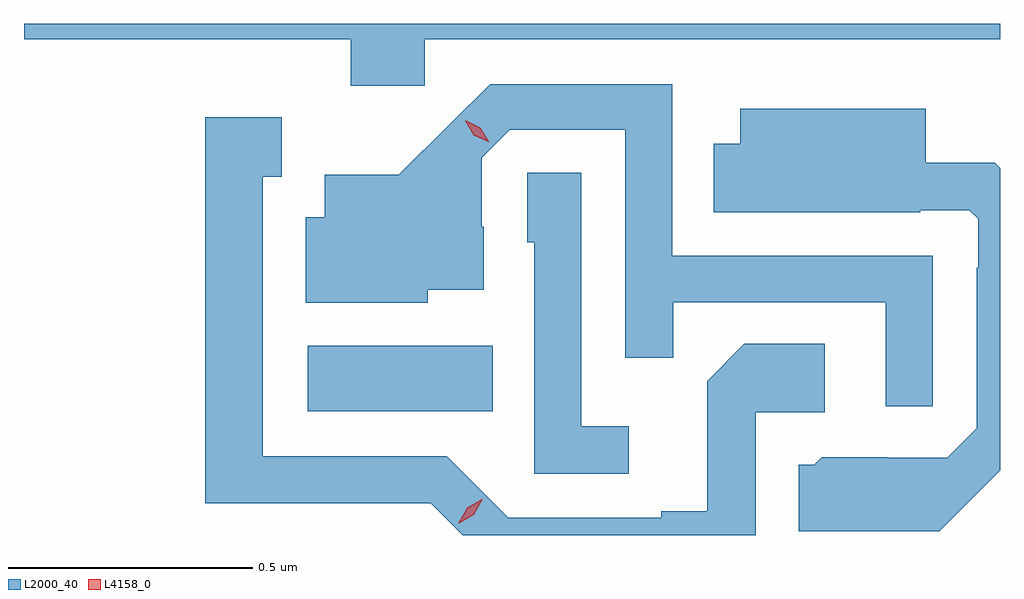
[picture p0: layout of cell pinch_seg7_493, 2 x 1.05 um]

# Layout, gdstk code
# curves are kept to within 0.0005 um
import gdstk
lib = gdstk.Library(unit=1e-6, precision=1e-09)
def R(c, l, rs):  # rectangles x0, y0, x1, y1
    for r in rs: c.add(gdstk.rectangle(r[:2], r[2:], *l))
def P(c, l, *ps):  # polygons
    for p in ps: c.add(gdstk.Polygon(p, *l))
L2000_40 = (2000, 40)
L4158_0 = (4158, 0)

pinch_seg7_493 = lib.new_cell('pinch_seg7_493')
R(pinch_seg7_493, L2000_40, [(180.444,1081.106,180.824,1081.24)])
P(pinch_seg7_493, L2000_40, [(180.684,1081.868),(181.863,1081.868),(181.863,1081.9),(179.863,1081.9),(179.863,1081.868),(180.533,1081.868),(180.533,1081.773),(180.684,1081.773)],
  [(181.725,1081.425),(181.191,1081.425),(181.191,1081.776),(180.818,1081.776),(180.631,1081.591),(180.479,1081.591),(180.479,1081.504),(180.44,1081.504),(180.44,1081.328),(180.69,1081.328),(180.69,1081.355),(180.805,1081.355),(180.805,1081.484),(180.801,1081.484),(180.801,1081.626),(180.858,1081.683),(181.095,1081.683),(181.095,1081.216),(181.193,1081.216),(181.193,1081.329),(181.629,1081.329),(181.629,1081.116),(181.725,1081.116)],
  [(181.819,1080.941),(181.863,1080.985),(181.863,1081.604),(181.852,1081.615),(181.711,1081.615),(181.711,1081.726),(181.331,1081.726),(181.331,1081.654),(181.276,1081.654),(181.276,1081.514),(181.7,1081.514),(181.7,1081.518),(181.8,1081.518),(181.818,1081.5),(181.818,1081.4),(181.815,1081.4),(181.815,1081.071),(181.755,1081.011),(181.632,1081.011),(181.632,1081.012),(181.498,1081.012),(181.482,1080.996),(181.451,1080.996),(181.451,1080.86),(181.739,1080.86)],
  [(181.362,1081.104),(181.504,1081.104),(181.504,1081.244),(181.339,1081.244),(181.263,1081.168),(181.263,1080.901),(181.169,1080.901),(181.169,1080.888),(180.855,1080.888),(180.729,1081.014),(180.352,1081.014),(180.352,1081.587),(180.391,1081.587),(180.391,1081.708),(180.234,1081.708),(180.234,1080.917),(180.474,1080.917),(180.474,1080.918),(180.696,1080.918),(180.762,1080.852),(181.362,1080.852)],
  [(181.102,1081.075),(181.005,1081.075),(181.005,1081.595),(180.894,1081.595),(180.894,1081.452),(180.909,1081.452),(180.909,1080.978),(181.102,1080.978)])
P(pinch_seg7_493, L4158_0, [(180.816,1081.657),(180.785,1081.672),(180.767,1081.701),(180.767,1081.702),(180.767,1081.702),(180.798,1081.687),(180.816,1081.657),(180.816,1081.657)],
  [(180.753,1080.876),(180.753,1080.876),(180.771,1080.908),(180.803,1080.927),(180.803,1080.927),(180.803,1080.927),(180.785,1080.894),(180.753,1080.876)])

lib.write_gds('pinch_seg7_493.gds')
